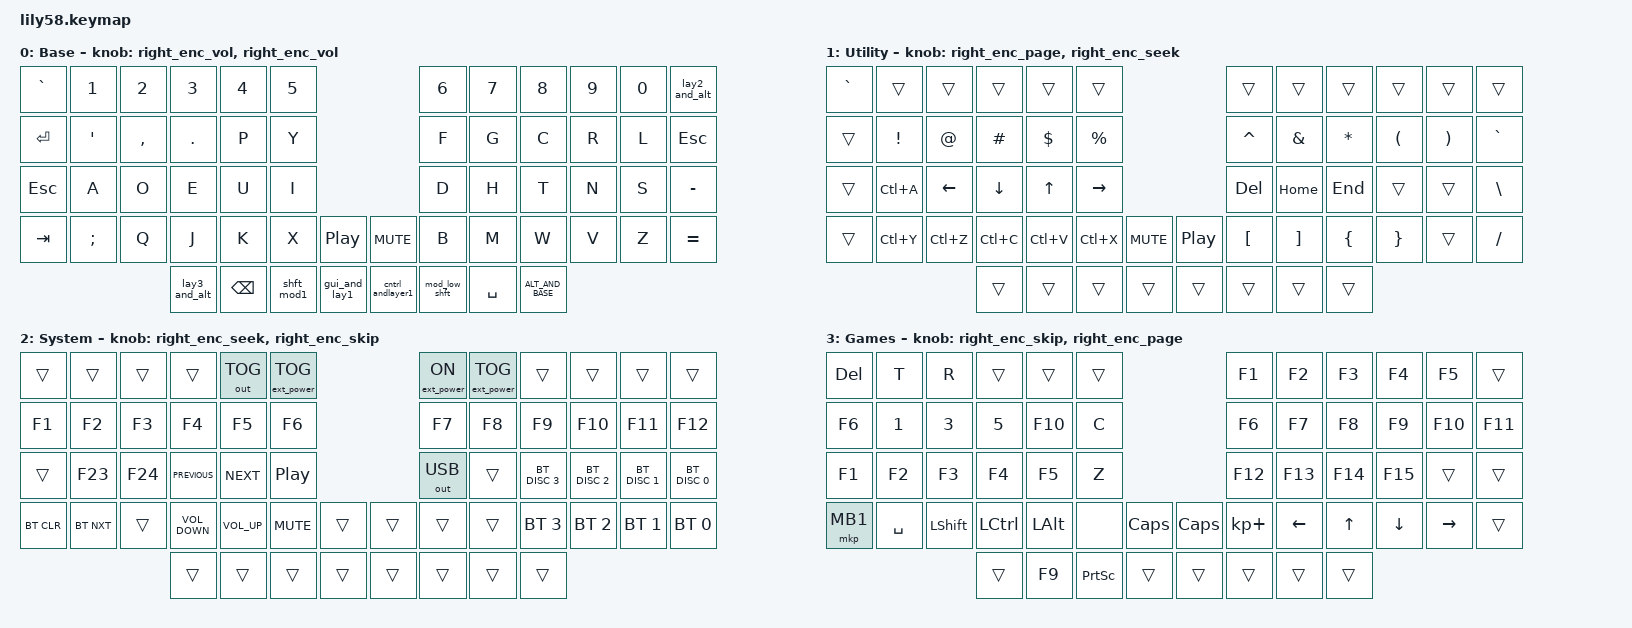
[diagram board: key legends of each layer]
/*
 * Copyright (c) 2020 The ZMK Contributors
 *
 * SPDX-License-Identifier: MIT
 */

#include <dt-bindings/zmk/mouse.h>
#include <behaviors.dtsi>
#include <dt-bindings/zmk/bt.h>
#include <dt-bindings/zmk/ext_power.h>
#include <dt-bindings/zmk/keys.h>
#include <dt-bindings/zmk/outputs.h>
#include <dt-bindings/zmk/pointing.h>

// &nice_view_spi { cs-gpios = <&pro_micro 0 GPIO_ACTIVE_HIGH>; };

/ {
    macros {
        mac_gui_lay1: mac_gui_lay1 {
            compatible = "zmk,behavior-macro";
            #binding-cells = <0>;
            bindings =
                <&macro_press>,
                <&mo 1>,
                <&macro_press>,
                <&kp LEFT_GUI>,
                <&macro_pause_for_release>,
                <&macro_release>,
                <&kp LEFT_GUI>,
                <&macro_release>,
                <&mo 1>;

            label = "MAC_GUI_LAY1";
        };

        mac_cntrl_shft_lay1: mac_cntrl_shft_lay1 {
            compatible = "zmk,behavior-macro";
            #binding-cells = <0>;
            bindings =
                <&macro_press>,
                <&mo 1>,
                <&macro_press>,
                <&kp LS(LEFT_CONTROL)>,
                <&macro_pause_for_release>,
                <&macro_release>,
                <&kp LS(LEFT_CONTROL)>,
                <&macro_release>,
                <&mo 1>;

            label = "MAC_CNTRL_SHFT_LAY1";
        };

        mac_shift_lay1: mac_shift_lay1 {
            compatible = "zmk,behavior-macro";
            #binding-cells = <0>;
            bindings =
                <&macro_press>,
                <&mo 1>,
                <&macro_press>,
                <&kp LEFT_SHIFT>,
                <&macro_pause_for_release>,
                <&macro_release>,
                <&kp LEFT_SHIFT>,
                <&macro_release>,
                <&mo 1>;

            label = "MAC_SHIFT_LAY1";
        };

        mac_gui_shift_lay1: mac_gui_shift_lay1 {
            compatible = "zmk,behavior-macro";
            #binding-cells = <0>;
            bindings =
                <&macro_press>,
                <&mo 1>,
                <&macro_press>,
                <&kp LS(LEFT_GUI)>,
                <&macro_pause_for_release>,
                <&macro_release>,
                <&kp LS(LEFT_GUI)>,
                <&macro_release>,
                <&mo 1>;

            label = "MAC_GUI_SHIFT_LAY1";
        };

        mac_alt_lay1: mac_alt_lay1 {
            compatible = "zmk,behavior-macro";
            #binding-cells = <0>;
            bindings =
                <&macro_press>,
                <&mo 1>,
                <&macro_press>,
                <&kp LEFT_ALT>,
                <&macro_pause_for_release>,
                <&macro_release>,
                <&kp LEFT_ALT>,
                <&macro_release>,
                <&mo 1>;

            label = "MAC_ALT_LAY1";
        };

        mac_cntrl_lay1: mac_cntrl_lay1 {
            compatible = "zmk,behavior-macro";
            #binding-cells = <0>;
            bindings =
                <&macro_press>,
                <&mo 1>,
                <&macro_press>,
                <&kp LEFT_CONTROL>,
                <&macro_pause_for_release>,
                <&macro_release>,
                <&kp LEFT_CONTROL>,
                <&macro_release>,
                <&mo 1>;

            label = "MAC_CNTRL_LAY1";
        };
    };

    behaviors {
        gui_and_lay1: gui_and_lay1 {
            compatible = "zmk,behavior-tap-dance";
            label = "GUI_AND_LAY1";
            #binding-cells = <0>;
            tapping-term-ms = <250>;
            bindings = <&mac_gui_lay1>, <&kp LEFT_GUI>, <&mac_gui_shift_lay1>;
        };

        shft_mod1: shft_mod1 {
            compatible = "zmk,behavior-tap-dance";
            label = "SHFT_MOD1";
            #binding-cells = <0>;
            tapping-term-ms = <275>;
            bindings = <&kp LEFT_SHIFT>, <&mo 1>, <&mac_shift_lay1>;
        };

        cntrl_andlayer1: cntrl_andlayer1 {
            compatible = "zmk,behavior-tap-dance";
            label = "CNTRL_ANDLAYER1";
            #binding-cells = <0>;
            bindings =
                <&kp LEFT_CONTROL>,
                <&mac_cntrl_lay1>,
                <&mac_cntrl_shft_lay1>;

            tapping-term-ms = <275>;
        };

        mod_low_shft: mod_low_shft {
            compatible = "zmk,behavior-tap-dance";
            label = "MOD_LOW_SHFT";
            #binding-cells = <0>;
            bindings = <&mo 1>, <&kp LEFT_SHIFT>, <&mac_shift_lay1>;

            tapping-term-ms = <230>;
        };

        lay2_and_alt: lay2_and_alt {
            compatible = "zmk,behavior-tap-dance";
            label = "LAY2_AND_ALT";
            #binding-cells = <0>;
            bindings = <&mo 2>, <&kp LEFT_ALT>, <&kp LS(LEFT_ALT)>;

            tapping-term-ms = <230>;
        };

        Layer_3_TD: Layer_3_TD {
            compatible = "zmk,behavior-tap-dance";
            label = "LAYER_3_TD";
            #binding-cells = <0>;
            bindings = <&mo 3>, <&mo 2>, <&tog 3>;

            tapping-term-ms = <250>;
        };

        ALT_AND_BASE: ALT_AND_BASE {
            compatible = "zmk,behavior-tap-dance";
            label = "ALT_AND_BASE";
            #binding-cells = <0>;
            bindings = <&none>, <&kp LEFT_ALT>, <&tog 0>;

            tapping-term-ms = <250>;
        };

        /*
         * Encoder defs:
         * https://zmk.dev/docs/behaviors/sensor-rotate
         * https://zmk.dev/docs/features/encoders
         */

        right_enc_vol: right_enc_vol {
            compatible = "zmk,behavior-sensor-rotate";
            #sensor-binding-cells = <0>;
            bindings = <&kp C_VOLUME_DOWN>, <&kp C_VOLUME_UP>;

            label = "right_enc_vol";
        };

        left_enc_vol: left_enc_vol {
            compatible = "zmk,behavior-sensor-rotate";
            #sensor-binding-cells = <0>;
            bindings = <&kp C_VOLUME_UP>, <&kp C_VOLUME_DOWN>;

            label = "left_enc_vol";
        };

        right_enc_page: right_enc_page {
            compatible = "zmk,behavior-sensor-rotate";
            #sensor-binding-cells = <0>;
            bindings = <&kp PG_UP>, <&kp PG_DN>;

            label = "right_enc_page";
        };

        left_enc_page: left_enc_page {
            compatible = "zmk,behavior-sensor-rotate";
            #sensor-binding-cells = <0>;
            bindings = <&kp PG_DN>, <&kp PG_UP>;

            label = "left_enc_page";
        };

        right_enc_seek: right_enc_seek {
            compatible = "zmk,behavior-sensor-rotate";
            #sensor-binding-cells = <0>;
            bindings = <&kp F23>, <&kp F24>;

            label = "right_enc_seek";
        };

        left_enc_seek: left_enc_seek {
            compatible = "zmk,behavior-sensor-rotate";
            #sensor-binding-cells = <0>;
            bindings = <&kp F24>, <&kp F23>;

            label = "left_enc_seek";
        };

        right_enc_skip: right_enc_skip {
            compatible = "zmk,behavior-sensor-rotate";
            #sensor-binding-cells = <0>;
            bindings = <&kp C_PREV>, <&kp C_NEXT>;

            label = "right_enc_skip";
        };

        left_enc_skip: left_enc_skip {
            compatible = "zmk,behavior-sensor-rotate";
            #sensor-binding-cells = <0>;
            bindings = <&kp C_NEXT>, <&kp C_PREV>;

            label = "left_enc_skip";
        };

        rot_kp: sensor_rotate_kp {
            compatible = "zmk,behavior-sensor-rotate-var";
            #sensor-binding-cells = <2>;
            bindings = <&kp>, <&kp>;
        };

        lay3_and_alt: lay3_and_alt {
            compatible = "zmk,behavior-tap-dance";
            label = "LAY3_AND_ALT";
            #binding-cells = <0>;
            bindings = <&mo 3>, <&kp LEFT_ALT>, <&kp LS(LEFT_CONTROL)>;

            tapping-term-ms = <230>;
        };

        Lay2_TD: Lay2_TD {
            compatible = "zmk,behavior-tap-dance";
            label = "LAY2_TD";
            #binding-cells = <0>;
            bindings = <&mo 2>, <&mo 3>, <&tog 3>;

            tapping-term-ms = <250>;
        };

        right_enc_scroll: right_enc_scroll {
            compatible = "zmk,behavior-sensor-rotate";
            #sensor-binding-cells = <0>;
            bindings = <&msc SCRL_DOWN>, <&msc SCRL_UP>;

            label = "RIGHT_ENC_SCROLL";
        };
    };

    keymap {
        compatible = "zmk,keymap";

        default_layer {
            // ------------------------------------------------------------------------------------------------------------
            // |  ESC  |  1  |  2  |  3   |  4   |  5   |                   |  6   |  7    |  8    |  9   |   0   |   `   |
            // |  TAB  |  Q  |  W  |  E   |  R   |  T   |                   |  Y   |  U    |  I    |  O   |   P   |   -   |
            // |  CTRL |  A  |  S  |  D   |  F   |  G   |                   |  H   |  J    |  K    |  L   |   ;   |   '   |
            // | SHIFT |  Z  |  X  |  C   |  V   |  B   |   "["  |  |  "]"  |  N   |  M    |  ,    |  .   |   /   | SHIFT |
            //                     | ALT  | GUI  | LOWER|  SPACE |  | ENTER | RAISE| BSPC  | GUI   |

            display-name = "Base";
            bindings = <
&kp GRAVE   &kp N1          &kp N2     &kp N3         &kp N4         &kp N5                                         &kp N6         &kp N7     &kp N8         &kp N9  &kp N0  &lay2_and_alt
&kp ENTER   &kp APOSTROPHE  &kp COMMA  &kp PERIOD     &kp P          &kp Y                                          &kp F          &kp G      &kp C          &kp R   &kp L   &kp ESCAPE
&kp ESCAPE  &kp A           &kp O      &kp E          &kp U          &kp I                                          &kp D          &kp H      &kp T          &kp N   &kp S   &kp MINUS
&kp TAB     &kp SEMICOLON   &kp Q      &kp J          &kp K          &kp X       &kp C_PP         &kp C_MUTE        &kp B          &kp M      &kp W          &kp V   &kp Z   &kp EQUAL
                                       &lay3_and_alt  &kp BACKSPACE  &shft_mod1  &gui_and_lay1    &cntrl_andlayer1  &mod_low_shft  &kp SPACE  &ALT_AND_BASE
            >;

            sensor-bindings = <&right_enc_vol>, <&right_enc_vol>;

            //sensor-bindings = <&inc_dec_kp C_VOL_UP C_VOL_DN &inc_dec_kp PG_UP PG_DN>;
            //sensor-bindings = <&rot_kp C_VOLUME_UP C_VOLUME_DOWN>;
            //sensor-bindings = <&right_enc_vol>;
        };

        utility_layer {
            display-name = "Utility";
            bindings = <
&kp GRAVE  &trans           &trans       &trans     &trans      &trans                               &trans            &trans             &trans          &trans                &trans                 &trans
&trans     &kp EXCLAMATION  &kp AT_SIGN  &kp HASH   &kp DOLLAR  &kp PERCENT                          &kp CARET         &kp AMPERSAND      &kp ASTERISK    &kp LEFT_PARENTHESIS  &kp RIGHT_PARENTHESIS  &kp GRAVE
&trans     &kp LC(A)        &kp LEFT     &kp DOWN   &kp UP      &kp RIGHT                            &kp DELETE        &kp HOME           &kp END         &trans                &trans                 &kp BACKSLASH
&trans     &kp LC(Y)        &kp LC(Z)    &kp LC(C)  &kp LC(V)   &kp LC(X)    &kp C_MUTE    &kp C_PP  &kp LEFT_BRACKET  &kp RIGHT_BRACKET  &kp LEFT_BRACE  &kp RIGHT_BRACE       &trans                 &kp SLASH
                                         &trans     &trans      &trans       &trans        &trans    &trans            &trans             &trans
            >;

            sensor-bindings = <&right_enc_page>, <&right_enc_seek>;

            // sensor-bindings = <&rot_kp PG_UP PG_DN>;
            // sensor-bindings = <&inc_dec_kp C_VOL_UP C_VOL_DN, &inc_dec_kp PG_UP PG_DN>;
            //sensor-bindings = <&right_enc_page>;
        };

        lower_layer {
            // ------------------------------------------------------------------------------------------------------------
            // | BTCLR | BT1 | BT2 |  BT3 |  BT4 |  BT5 |                   |      |       |       |      |       |       |
            // |  F1   |  F2 |  F3 |  F4  |  F5  |  F6  |                   |  F7  |  F8   |  F9   |  F10 |  F11  |  F12  |
            // |   `   |  !  |  @  |  #   |  $   |  %   |                   |  ^   |  &    |  *    |  (   |   )   |   ~   |
            // |       |     |     |      |      |      |        |  |       |      |  _    |  +    |  {   |   }   |  "|"  |
            //                     |      |      |      |        |  |       |      |       |       |

            display-name = "System";
            bindings = <
&trans      &trans      &trans   &trans             &out OUT_TOG     &ext_power EP_TOG                    &ext_power EP_ON  &ext_power EP_TOG  &trans         &trans         &trans         &trans
&kp F1      &kp F2      &kp F3   &kp F4             &kp F5           &kp F6                               &kp F7            &kp F8             &kp F9         &kp F10        &kp F11        &kp F12
&trans      &kp F23     &kp F24  &kp C_PREVIOUS     &kp C_NEXT       &kp C_PP                             &out OUT_USB      &trans             &bt BT_DISC 3  &bt BT_DISC 2  &bt BT_DISC 1  &bt BT_DISC 0
&bt BT_CLR  &bt BT_NXT  &trans   &kp C_VOLUME_DOWN  &kp C_VOLUME_UP  &kp C_MUTE         &trans    &trans  &trans            &trans             &bt BT_SEL 3   &bt BT_SEL 2   &bt BT_SEL 1   &bt BT_SEL 0
                                 &trans             &trans           &trans             &trans    &trans  &trans            &trans             &trans
            >;

            sensor-bindings = <&right_enc_seek>, <&right_enc_skip>;

            // sensor-bindings = <&rot_kp C_PREV C_NEXT>;
            //sensor-bindings = <&inc_dec_kp C_VOL_UP C_VOL_DN, &inc_dec_kp PG_UP PG_DN>;
            //sensor-bindings = <&right_enc_skip>;
        };

        raise_layer {
            // ------------------------------------------------------------------------------------------------------------
            // |       |     |     |      |      |      |                   |      |       |       |      |       |       |
            // |   `   |  1  |  2  |  3   |  4   |  5   |                   |  6   |   7   |   8   |  9   |   0   |       |
            // |   F1  |  F2 |  F3 |  F4  |  F5  |  F6  |                   |      |   <-  |   v   |  ^   |  ->   |       |
            // |   F7  |  F8 |  F9 |  F10 |  F11 |  F12 |        |  |       |  +   |   -   |   =   |  [   |   ]   |   \   |
            //                     |      |      |      |        |  |       |      |       |       |

            display-name = "Games";
            bindings = <
&kp DELETE  &kp T         &kp R           &trans            &trans        &trans                                         &kp F1       &kp F2          &kp F3        &kp F4          &kp F5           &trans
&kp F6      &kp NUMBER_1  &kp NUMBER_3    &kp N5            &kp F10       &kp C                                          &kp F6       &kp F7          &kp F8        &kp F9          &kp F10          &kp F11
&kp F1      &kp F2        &kp F3          &kp F4            &kp F5        &kp Z                                          &kp F12      &kp F13         &kp F14       &kp F15         &trans           &trans
&mkp MB1    &kp SPACE     &kp LEFT_SHIFT  &kp LEFT_CONTROL  &kp LEFT_ALT  &none            &kp CAPSLOCK    &kp CAPSLOCK  &kp KP_PLUS  &kp LEFT_ARROW  &kp UP_ARROW  &kp DOWN_ARROW  &kp RIGHT_ARROW  &trans
                                          &trans            &kp F9        &kp PRINTSCREEN  &trans          &trans        &trans       &trans          &trans
            >;

            sensor-bindings = <&right_enc_skip>, <&right_enc_page>;

            // sensor-bindings = <&rot_kp C_VOLUME_UP C_VOLUME_DOWN>;
            // sensor-bindings = <&right_enc_scroll>;
        };
    };
};
